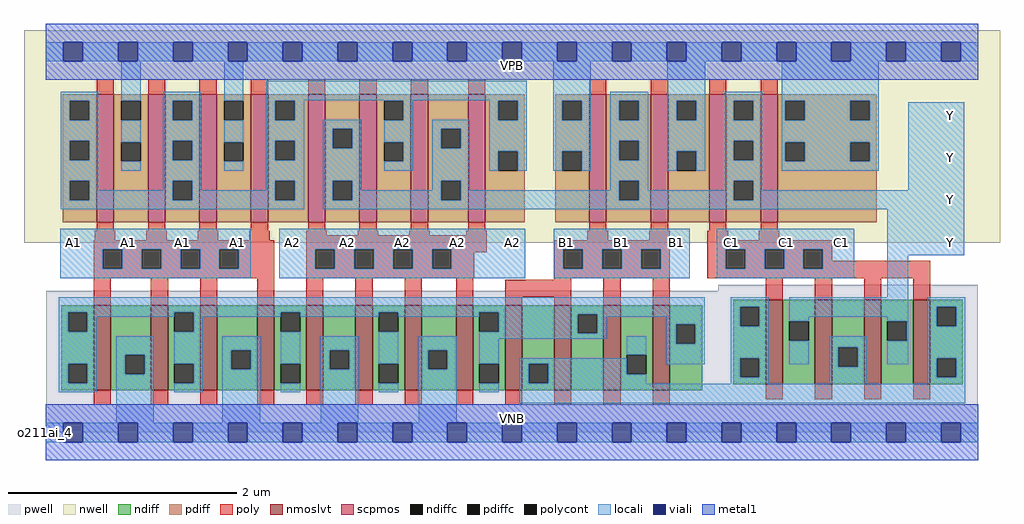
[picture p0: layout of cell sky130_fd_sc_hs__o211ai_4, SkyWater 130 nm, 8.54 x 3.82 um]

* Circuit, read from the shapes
.subckt sky130_fd_sc_hs__o211ai_4 A1 A2 B1 C1 VGND VNB VPB VPWR Y
XM1 VGND A1 n1 VNB sky130_fd_pr__nfet_01v8_lvt w=0.74 l=0.15 m=4
XM2 VGND A2 n1 VNB sky130_fd_pr__nfet_01v8_lvt w=0.74 l=0.15 m=4
XM3 n2 B1 n1 VNB sky130_fd_pr__nfet_01v8_lvt w=0.74 l=0.15 m=4
XM4 Y C1 n2 VNB sky130_fd_pr__nfet_01v8_lvt w=0.74 l=0.15 m=4
XM5 VPWR A1 n3 VPB sky130_fd_pr__pfet_01v8 w=1.12 l=0.15 m=4
XM6 Y A2 n3 VPB sky130_fd_pr__pfet_01v8 w=1.12 l=0.15 m=4
XM7 Y B1 VPWR VPB sky130_fd_pr__pfet_01v8 w=1.12 l=0.15 m=2
XM8 Y C1 VPWR VPB sky130_fd_pr__pfet_01v8 w=1.12 l=0.15 m=2
.ends

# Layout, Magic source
magic
tech sky130A
magscale 1 2
<< nwell >>
rect -38 332 1670 704
<< pwell >>
rect 1177 248 1631 258
rect 1 49 1631 248
rect 0 0 1632 49
<< scpmos >>
rect 89 368 119 592
rect 179 368 209 592
rect 269 368 299 592
rect 359 368 389 592
rect 459 368 489 592
rect 549 368 579 592
rect 639 368 669 592
rect 739 368 769 592
rect 951 368 981 592
rect 1059 368 1089 592
rect 1161 368 1191 592
rect 1251 368 1281 592
<< nmoslvt >>
rect 84 74 114 222
rect 184 74 214 222
rect 270 74 300 222
rect 370 74 400 222
rect 456 74 486 222
rect 542 74 572 222
rect 628 74 658 222
rect 718 74 748 222
rect 804 74 834 222
rect 890 74 920 222
rect 976 74 1006 222
rect 1062 74 1092 222
rect 1260 84 1290 232
rect 1346 84 1376 232
rect 1432 84 1462 232
rect 1518 84 1548 232
<< ndiff >>
rect 27 210 84 222
rect 27 176 39 210
rect 73 176 84 210
rect 27 120 84 176
rect 27 86 39 120
rect 73 86 84 120
rect 27 74 84 86
rect 114 136 184 222
rect 114 102 139 136
rect 173 102 184 136
rect 114 74 184 102
rect 214 210 270 222
rect 214 176 225 210
rect 259 176 270 210
rect 214 120 270 176
rect 214 86 225 120
rect 259 86 270 120
rect 214 74 270 86
rect 300 144 370 222
rect 300 110 325 144
rect 359 110 370 144
rect 300 74 370 110
rect 400 210 456 222
rect 400 176 411 210
rect 445 176 456 210
rect 400 120 456 176
rect 400 86 411 120
rect 445 86 456 120
rect 400 74 456 86
rect 486 144 542 222
rect 486 110 497 144
rect 531 110 542 144
rect 486 74 542 110
rect 572 210 628 222
rect 572 176 583 210
rect 617 176 628 210
rect 572 120 628 176
rect 572 86 583 120
rect 617 86 628 120
rect 572 74 628 86
rect 658 144 718 222
rect 658 110 669 144
rect 703 110 718 144
rect 658 74 718 110
rect 748 210 804 222
rect 748 176 759 210
rect 793 176 804 210
rect 748 120 804 176
rect 748 86 759 120
rect 793 86 804 120
rect 748 74 804 86
rect 834 120 890 222
rect 834 86 845 120
rect 879 86 890 120
rect 834 74 890 86
rect 920 207 976 222
rect 920 173 931 207
rect 965 173 976 207
rect 920 74 976 173
rect 1006 136 1062 222
rect 1006 102 1017 136
rect 1051 102 1062 136
rect 1006 74 1062 102
rect 1092 189 1149 222
rect 1092 155 1103 189
rect 1137 155 1149 189
rect 1092 74 1149 155
rect 1203 220 1260 232
rect 1203 186 1215 220
rect 1249 186 1260 220
rect 1203 130 1260 186
rect 1203 96 1215 130
rect 1249 96 1260 130
rect 1203 84 1260 96
rect 1290 194 1346 232
rect 1290 160 1301 194
rect 1335 160 1346 194
rect 1290 84 1346 160
rect 1376 149 1432 232
rect 1376 115 1387 149
rect 1421 115 1432 149
rect 1376 84 1432 115
rect 1462 194 1518 232
rect 1462 160 1473 194
rect 1507 160 1518 194
rect 1462 84 1518 160
rect 1548 220 1605 232
rect 1548 186 1559 220
rect 1593 186 1605 220
rect 1548 130 1605 186
rect 1548 96 1559 130
rect 1593 96 1605 130
rect 1548 84 1605 96
<< pdiff >>
rect 30 580 89 592
rect 30 546 42 580
rect 76 546 89 580
rect 30 510 89 546
rect 30 476 42 510
rect 76 476 89 510
rect 30 440 89 476
rect 30 406 42 440
rect 76 406 89 440
rect 30 368 89 406
rect 119 580 179 592
rect 119 546 132 580
rect 166 546 179 580
rect 119 508 179 546
rect 119 474 132 508
rect 166 474 179 508
rect 119 368 179 474
rect 209 580 269 592
rect 209 546 222 580
rect 256 546 269 580
rect 209 510 269 546
rect 209 476 222 510
rect 256 476 269 510
rect 209 440 269 476
rect 209 406 222 440
rect 256 406 269 440
rect 209 368 269 406
rect 299 580 359 592
rect 299 546 312 580
rect 346 546 359 580
rect 299 508 359 546
rect 299 474 312 508
rect 346 474 359 508
rect 299 368 359 474
rect 389 580 459 592
rect 389 546 402 580
rect 436 546 459 580
rect 389 510 459 546
rect 389 476 402 510
rect 436 476 459 510
rect 389 440 459 476
rect 389 406 402 440
rect 436 406 459 440
rect 389 368 459 406
rect 489 531 549 592
rect 489 497 502 531
rect 536 497 549 531
rect 489 440 549 497
rect 489 406 502 440
rect 536 406 549 440
rect 489 368 549 406
rect 579 580 639 592
rect 579 546 592 580
rect 626 546 639 580
rect 579 508 639 546
rect 579 474 592 508
rect 626 474 639 508
rect 579 368 639 474
rect 669 531 739 592
rect 669 497 692 531
rect 726 497 739 531
rect 669 440 739 497
rect 669 406 692 440
rect 726 406 739 440
rect 669 368 739 406
rect 769 580 838 592
rect 769 546 792 580
rect 826 546 838 580
rect 769 492 838 546
rect 769 458 792 492
rect 826 458 838 492
rect 769 368 838 458
rect 892 580 951 592
rect 892 546 904 580
rect 938 546 951 580
rect 892 492 951 546
rect 892 458 904 492
rect 938 458 951 492
rect 892 368 951 458
rect 981 580 1059 592
rect 981 546 1004 580
rect 1038 546 1059 580
rect 981 510 1059 546
rect 981 476 1004 510
rect 1038 476 1059 510
rect 981 440 1059 476
rect 981 406 1004 440
rect 1038 406 1059 440
rect 981 368 1059 406
rect 1089 580 1161 592
rect 1089 546 1104 580
rect 1138 546 1161 580
rect 1089 492 1161 546
rect 1089 458 1104 492
rect 1138 458 1161 492
rect 1089 368 1161 458
rect 1191 580 1251 592
rect 1191 546 1204 580
rect 1238 546 1251 580
rect 1191 510 1251 546
rect 1191 476 1204 510
rect 1238 476 1251 510
rect 1191 440 1251 476
rect 1191 406 1204 440
rect 1238 406 1251 440
rect 1191 368 1251 406
rect 1281 580 1454 592
rect 1281 546 1294 580
rect 1328 546 1408 580
rect 1442 546 1454 580
rect 1281 508 1454 546
rect 1281 474 1294 508
rect 1328 474 1408 508
rect 1442 474 1454 508
rect 1281 368 1454 474
<< ndiffc >>
rect 39 176 73 210
rect 39 86 73 120
rect 139 102 173 136
rect 225 176 259 210
rect 225 86 259 120
rect 325 110 359 144
rect 411 176 445 210
rect 411 86 445 120
rect 497 110 531 144
rect 583 176 617 210
rect 583 86 617 120
rect 669 110 703 144
rect 759 176 793 210
rect 759 86 793 120
rect 845 86 879 120
rect 931 173 965 207
rect 1017 102 1051 136
rect 1103 155 1137 189
rect 1215 186 1249 220
rect 1215 96 1249 130
rect 1301 160 1335 194
rect 1387 115 1421 149
rect 1473 160 1507 194
rect 1559 186 1593 220
rect 1559 96 1593 130
<< pdiffc >>
rect 42 546 76 580
rect 42 476 76 510
rect 42 406 76 440
rect 132 546 166 580
rect 132 474 166 508
rect 222 546 256 580
rect 222 476 256 510
rect 222 406 256 440
rect 312 546 346 580
rect 312 474 346 508
rect 402 546 436 580
rect 402 476 436 510
rect 402 406 436 440
rect 502 497 536 531
rect 502 406 536 440
rect 592 546 626 580
rect 592 474 626 508
rect 692 497 726 531
rect 692 406 726 440
rect 792 546 826 580
rect 792 458 826 492
rect 904 546 938 580
rect 904 458 938 492
rect 1004 546 1038 580
rect 1004 476 1038 510
rect 1004 406 1038 440
rect 1104 546 1138 580
rect 1104 458 1138 492
rect 1204 546 1238 580
rect 1204 476 1238 510
rect 1204 406 1238 440
rect 1294 546 1328 580
rect 1408 546 1442 580
rect 1294 474 1328 508
rect 1408 474 1442 508
<< poly >>
rect 89 592 119 618
rect 179 592 209 618
rect 269 592 299 618
rect 359 592 389 618
rect 459 592 489 618
rect 549 592 579 618
rect 639 592 669 618
rect 739 592 769 618
rect 951 592 981 618
rect 1059 592 1089 618
rect 1161 592 1191 618
rect 1251 592 1281 618
rect 89 353 119 368
rect 179 353 209 368
rect 269 353 299 368
rect 359 353 389 368
rect 459 353 489 368
rect 549 353 579 368
rect 639 353 669 368
rect 739 353 769 368
rect 951 353 981 368
rect 1059 353 1089 368
rect 1161 353 1191 368
rect 1251 353 1281 368
rect 86 336 122 353
rect 176 336 212 353
rect 266 336 302 353
rect 356 336 392 353
rect 456 345 492 353
rect 546 345 582 353
rect 636 345 672 353
rect 736 345 772 353
rect 84 320 400 336
rect 84 286 100 320
rect 134 286 168 320
rect 202 286 236 320
rect 270 286 304 320
rect 338 286 400 320
rect 84 270 400 286
rect 84 222 114 270
rect 184 222 214 270
rect 270 222 300 270
rect 370 222 400 270
rect 456 320 772 345
rect 948 336 984 353
rect 1056 336 1092 353
rect 456 286 472 320
rect 506 286 540 320
rect 574 286 608 320
rect 642 286 676 320
rect 710 315 772 320
rect 890 320 1092 336
rect 710 286 750 315
rect 456 270 750 286
rect 890 286 906 320
rect 940 286 974 320
rect 1008 286 1042 320
rect 1076 286 1092 320
rect 890 270 1092 286
rect 1158 336 1194 353
rect 1248 336 1284 353
rect 1158 320 1376 336
rect 1158 286 1190 320
rect 1224 286 1258 320
rect 1292 286 1326 320
rect 1360 300 1376 320
rect 1360 286 1548 300
rect 1158 270 1548 286
rect 456 222 486 270
rect 542 222 572 270
rect 628 222 658 270
rect 718 222 748 270
rect 890 267 920 270
rect 804 237 920 267
rect 804 222 834 237
rect 890 222 920 237
rect 976 222 1006 270
rect 1062 222 1092 270
rect 1260 232 1290 270
rect 1346 232 1376 270
rect 1432 232 1462 270
rect 1518 232 1548 270
rect 84 48 114 74
rect 184 48 214 74
rect 270 48 300 74
rect 370 48 400 74
rect 456 48 486 74
rect 542 48 572 74
rect 628 48 658 74
rect 718 48 748 74
rect 804 48 834 74
rect 890 48 920 74
rect 976 48 1006 74
rect 1062 48 1092 74
rect 1260 58 1290 84
rect 1346 58 1376 84
rect 1432 58 1462 84
rect 1518 58 1548 84
<< polycont >>
rect 100 286 134 320
rect 168 286 202 320
rect 236 286 270 320
rect 304 286 338 320
rect 472 286 506 320
rect 540 286 574 320
rect 608 286 642 320
rect 676 286 710 320
rect 906 286 940 320
rect 974 286 1008 320
rect 1042 286 1076 320
rect 1190 286 1224 320
rect 1258 286 1292 320
rect 1326 286 1360 320
<< locali >>
rect 0 649 31 683
rect 65 649 127 683
rect 161 649 223 683
rect 257 649 319 683
rect 353 649 415 683
rect 449 649 511 683
rect 545 649 607 683
rect 641 649 703 683
rect 737 649 799 683
rect 833 649 895 683
rect 929 649 991 683
rect 1025 649 1087 683
rect 1121 649 1183 683
rect 1217 649 1279 683
rect 1313 649 1375 683
rect 1409 649 1471 683
rect 1505 649 1567 683
rect 1601 649 1632 683
rect 26 580 92 596
rect 26 546 42 580
rect 76 546 92 580
rect 26 510 92 546
rect 26 476 42 510
rect 76 476 92 510
rect 26 440 92 476
rect 132 580 166 649
rect 132 508 166 546
rect 132 458 166 474
rect 206 580 272 596
rect 206 546 222 580
rect 256 546 272 580
rect 206 510 272 546
rect 206 476 222 510
rect 256 476 272 510
rect 26 406 42 440
rect 76 424 92 440
rect 206 440 272 476
rect 312 580 346 649
rect 312 508 346 546
rect 312 458 346 474
rect 386 581 842 615
rect 386 580 452 581
rect 386 546 402 580
rect 436 546 452 580
rect 592 580 642 581
rect 386 510 452 546
rect 386 476 402 510
rect 436 476 452 510
rect 206 424 222 440
rect 76 406 222 424
rect 256 424 272 440
rect 386 440 452 476
rect 386 424 402 440
rect 256 406 402 424
rect 436 406 452 440
rect 26 390 452 406
rect 486 531 552 547
rect 486 497 502 531
rect 536 497 552 531
rect 486 440 552 497
rect 626 546 642 580
rect 776 580 842 581
rect 592 508 642 546
rect 626 474 642 508
rect 592 458 642 474
rect 676 531 742 547
rect 676 497 692 531
rect 726 497 742 531
rect 486 406 502 440
rect 536 424 552 440
rect 676 440 742 497
rect 776 546 792 580
rect 826 546 842 580
rect 776 492 842 546
rect 776 458 792 492
rect 826 458 842 492
rect 888 580 954 649
rect 888 546 904 580
rect 938 546 954 580
rect 888 492 954 546
rect 888 458 904 492
rect 938 458 954 492
rect 988 580 1054 596
rect 988 546 1004 580
rect 1038 546 1054 580
rect 988 510 1054 546
rect 988 476 1004 510
rect 1038 476 1054 510
rect 676 424 692 440
rect 536 406 692 424
rect 726 424 742 440
rect 988 440 1054 476
rect 1088 580 1154 649
rect 1088 546 1104 580
rect 1138 546 1154 580
rect 1088 492 1154 546
rect 1088 458 1104 492
rect 1138 458 1154 492
rect 1188 580 1254 596
rect 1188 546 1204 580
rect 1238 546 1254 580
rect 1188 510 1254 546
rect 1188 476 1204 510
rect 1238 476 1254 510
rect 988 424 1004 440
rect 726 406 1004 424
rect 1038 424 1054 440
rect 1188 440 1254 476
rect 1288 580 1458 649
rect 1288 546 1294 580
rect 1328 546 1408 580
rect 1442 546 1458 580
rect 1288 508 1458 546
rect 1288 474 1294 508
rect 1328 474 1408 508
rect 1442 474 1458 508
rect 1288 458 1458 474
rect 1188 424 1204 440
rect 1038 406 1204 424
rect 1238 424 1254 440
rect 1509 424 1607 578
rect 1238 406 1607 424
rect 486 390 1607 406
rect 25 320 359 356
rect 25 286 100 320
rect 134 286 168 320
rect 202 286 236 320
rect 270 286 304 320
rect 338 286 359 320
rect 25 270 359 286
rect 409 320 839 356
rect 409 286 472 320
rect 506 286 540 320
rect 574 286 608 320
rect 642 286 676 320
rect 710 286 839 320
rect 409 270 839 286
rect 889 320 1127 356
rect 889 286 906 320
rect 940 286 974 320
rect 1008 286 1042 320
rect 1076 286 1127 320
rect 889 270 1127 286
rect 1174 320 1415 356
rect 1174 286 1190 320
rect 1224 286 1258 320
rect 1292 286 1326 320
rect 1360 286 1415 320
rect 1174 270 1415 286
rect 1473 310 1607 390
rect 1473 236 1509 310
rect 23 210 1153 236
rect 23 176 39 210
rect 73 202 225 210
rect 73 176 89 202
rect 23 120 89 176
rect 259 202 411 210
rect 259 176 275 202
rect 23 86 39 120
rect 73 86 89 120
rect 23 70 89 86
rect 123 136 189 168
rect 123 102 139 136
rect 173 102 189 136
rect 123 17 189 102
rect 225 120 275 176
rect 445 202 583 210
rect 259 86 275 120
rect 225 70 275 86
rect 309 144 375 168
rect 309 110 325 144
rect 359 110 375 144
rect 309 17 375 110
rect 411 120 445 176
rect 617 202 759 210
rect 411 70 445 86
rect 481 144 547 168
rect 481 110 497 144
rect 531 110 547 144
rect 481 17 547 110
rect 583 120 617 176
rect 793 207 1153 210
rect 793 176 931 207
rect 759 173 931 176
rect 965 202 1153 207
rect 965 173 981 202
rect 583 70 617 86
rect 653 144 719 168
rect 653 110 669 144
rect 703 110 719 144
rect 653 17 719 110
rect 759 164 981 173
rect 1087 189 1153 202
rect 759 120 793 164
rect 1017 136 1051 168
rect 759 70 793 86
rect 829 120 1017 130
rect 829 86 845 120
rect 879 102 1017 120
rect 1087 155 1103 189
rect 1137 155 1153 189
rect 1087 119 1153 155
rect 1199 220 1265 236
rect 1199 186 1215 220
rect 1249 186 1265 220
rect 1199 130 1265 186
rect 879 86 1051 102
rect 829 85 1051 86
rect 1199 96 1215 130
rect 1249 96 1265 130
rect 1301 202 1509 236
rect 1301 194 1335 202
rect 1473 194 1509 202
rect 1301 119 1335 160
rect 1371 149 1437 168
rect 1199 85 1265 96
rect 1371 115 1387 149
rect 1421 115 1437 149
rect 1507 160 1509 194
rect 1473 119 1509 160
rect 1543 220 1609 236
rect 1543 186 1559 220
rect 1593 186 1609 220
rect 1543 130 1609 186
rect 1371 85 1437 115
rect 1543 96 1559 130
rect 1593 96 1609 130
rect 1543 85 1609 96
rect 829 51 1609 85
rect 0 -17 31 17
rect 65 -17 127 17
rect 161 -17 223 17
rect 257 -17 319 17
rect 353 -17 415 17
rect 449 -17 511 17
rect 545 -17 607 17
rect 641 -17 703 17
rect 737 -17 799 17
rect 833 -17 895 17
rect 929 -17 991 17
rect 1025 -17 1087 17
rect 1121 -17 1183 17
rect 1217 -17 1279 17
rect 1313 -17 1375 17
rect 1409 -17 1471 17
rect 1505 -17 1567 17
rect 1601 -17 1632 17
<< viali >>
rect 31 649 65 683
rect 127 649 161 683
rect 223 649 257 683
rect 319 649 353 683
rect 415 649 449 683
rect 511 649 545 683
rect 607 649 641 683
rect 703 649 737 683
rect 799 649 833 683
rect 895 649 929 683
rect 991 649 1025 683
rect 1087 649 1121 683
rect 1183 649 1217 683
rect 1279 649 1313 683
rect 1375 649 1409 683
rect 1471 649 1505 683
rect 1567 649 1601 683
rect 31 -17 65 17
rect 127 -17 161 17
rect 223 -17 257 17
rect 319 -17 353 17
rect 415 -17 449 17
rect 511 -17 545 17
rect 607 -17 641 17
rect 703 -17 737 17
rect 799 -17 833 17
rect 895 -17 929 17
rect 991 -17 1025 17
rect 1087 -17 1121 17
rect 1183 -17 1217 17
rect 1279 -17 1313 17
rect 1375 -17 1409 17
rect 1471 -17 1505 17
rect 1567 -17 1601 17
<< metal1 >>
rect 0 683 1632 715
rect 0 649 31 683
rect 65 649 127 683
rect 161 649 223 683
rect 257 649 319 683
rect 353 649 415 683
rect 449 649 511 683
rect 545 649 607 683
rect 641 649 703 683
rect 737 649 799 683
rect 833 649 895 683
rect 929 649 991 683
rect 1025 649 1087 683
rect 1121 649 1183 683
rect 1217 649 1279 683
rect 1313 649 1375 683
rect 1409 649 1471 683
rect 1505 649 1567 683
rect 1601 649 1632 683
rect 0 617 1632 649
rect 0 17 1632 49
rect 0 -17 31 17
rect 65 -17 127 17
rect 161 -17 223 17
rect 257 -17 319 17
rect 353 -17 415 17
rect 449 -17 511 17
rect 545 -17 607 17
rect 641 -17 703 17
rect 737 -17 799 17
rect 833 -17 895 17
rect 929 -17 991 17
rect 1025 -17 1087 17
rect 1121 -17 1183 17
rect 1217 -17 1279 17
rect 1313 -17 1375 17
rect 1409 -17 1471 17
rect 1505 -17 1567 17
rect 1601 -17 1632 17
rect 0 -49 1632 -17
<< labels >>
rlabel comment s 0 0 0 0 4 o211ai_4
flabel pwell s 0 0 1632 49 0 FreeSans 200 0 0 0 VNB
port 6 nsew ground bidirectional
flabel nwell s 0 617 1632 666 0 FreeSans 200 0 0 0 VPB
port 7 nsew power bidirectional
flabel metal1 s 0 617 1632 666 0 FreeSans 340 0 0 0 VPWR
port 8 nsew power bidirectional
flabel metal1 s 0 0 1632 49 0 FreeSans 340 0 0 0 VGND
port 5 nsew ground bidirectional
flabel locali s 31 316 65 350 0 FreeSans 340 0 0 0 A1
port 1 nsew signal input
flabel locali s 127 316 161 350 0 FreeSans 340 0 0 0 A1
port 1 nsew signal input
flabel locali s 223 316 257 350 0 FreeSans 340 0 0 0 A1
port 1 nsew signal input
flabel locali s 319 316 353 350 0 FreeSans 340 0 0 0 A1
port 1 nsew signal input
flabel locali s 415 316 449 350 0 FreeSans 340 0 0 0 A2
port 2 nsew signal input
flabel locali s 511 316 545 350 0 FreeSans 340 0 0 0 A2
port 2 nsew signal input
flabel locali s 607 316 641 350 0 FreeSans 340 0 0 0 A2
port 2 nsew signal input
flabel locali s 703 316 737 350 0 FreeSans 340 0 0 0 A2
port 2 nsew signal input
flabel locali s 799 316 833 350 0 FreeSans 340 0 0 0 A2
port 2 nsew signal input
flabel locali s 895 316 929 350 0 FreeSans 340 0 0 0 B1
port 3 nsew signal input
flabel locali s 991 316 1025 350 0 FreeSans 340 0 0 0 B1
port 3 nsew signal input
flabel locali s 1087 316 1121 350 0 FreeSans 340 0 0 0 B1
port 3 nsew signal input
flabel locali s 1183 316 1217 350 0 FreeSans 340 0 0 0 C1
port 4 nsew signal input
flabel locali s 1279 316 1313 350 0 FreeSans 340 0 0 0 C1
port 4 nsew signal input
flabel locali s 1375 316 1409 350 0 FreeSans 340 0 0 0 C1
port 4 nsew signal input
flabel locali s 1567 316 1601 350 0 FreeSans 340 0 0 0 Y
port 9 nsew signal output
flabel locali s 1567 390 1601 424 0 FreeSans 340 0 0 0 Y
port 9 nsew signal output
flabel locali s 1567 464 1601 498 0 FreeSans 340 0 0 0 Y
port 9 nsew signal output
flabel locali s 1567 538 1601 572 0 FreeSans 340 0 0 0 Y
port 9 nsew signal output
<< properties >>
string LEFsite unit
string LEFclass CORE
string FIXED_BBOX 0 0 1632 666
string GDS_FILE $PDKPATH/libs.ref/sky130_fd_sc_hs/gds/sky130_fd_sc_hs.gds
string LEFsymmetry X Y
string GDS_END 3988114
string GDS_START 3974250
<< end >>
